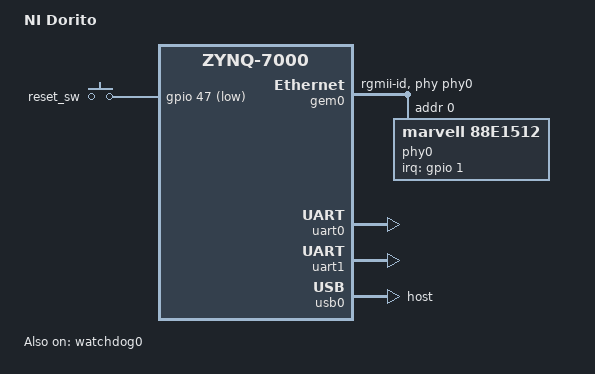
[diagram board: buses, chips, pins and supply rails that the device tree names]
/dts-v1/;
/include/ "ni-zynq.dtsi"

/* NIDEVCODE 78BA */
/* NIDEVCODE 78BB */
/* NIDEVCODE 78BC */
/* NIDEVCODE 78BD */
/* NIDEVCODE 78BE */
/* NIDEVCODE 78BF */
/* NIDEVCODE 78C0 */
/* NIDEVCODE 78C1 */
/* NIDEVCODE 78C2 */
/* NIDEVCODE 78C3 */
/* NIDEVCODE 78C4 */
/* NIDEVCODE 78C5 */

/ {
	model = "NI Dorito";
	compatible = "ni,zynq", "xlnx,zynq-7000";

	gpio_keys {
		compatible = "gpio-keys";
		#address-cells = <1>;
		#size-cells = <0>;

		/* Reset switch is on GPIO47 */
		reset_sw@0 {
			label = "reset_sw";
			gpios = <&gpio 47 1 /* GPIO_ACTIVE_LOW */>;
			linux,code = <408>; /* KEY_RESTART */
			gpio-key,wakeup;
		};
	};
};

&gem0 {
	status = "okay";
	phy-handle = <&phy0>;
	phy-mode = "rgmii-id";

	#address-cells = <0x1>;
	#size-cells = <0x0>;

	phy0: phy0@0 {
		compatible = "marvell,88e1512";
		device_type = "ethernet-phy";
		reg = <0x0>;
		/* Interrupt on GPIO1 */
		interrupts = <1 8 /* IRQ_TYPE_LEVEL LOW */>;
		interrupt-parent = <&gpio>;
		/* Page 3, Reg 16, LED[2:0] Function Control */
		leds = <0x1881>;
	};
};

/* Dorito devices do not have anything connected via I2C */
&i2c0 {
	status = "disabled";
};

/* Umber UART connects to Zynq UART0 */
&uart0 {
	status = "okay";
};

/* Zynq UART connects to debug header */
&uart1 {
	status = "okay";
};

&usb0 {
	status = "okay";
	dr_mode = "host";
};

&watchdog0 {
	status = "okay";
	reset-on-timeout;
};
